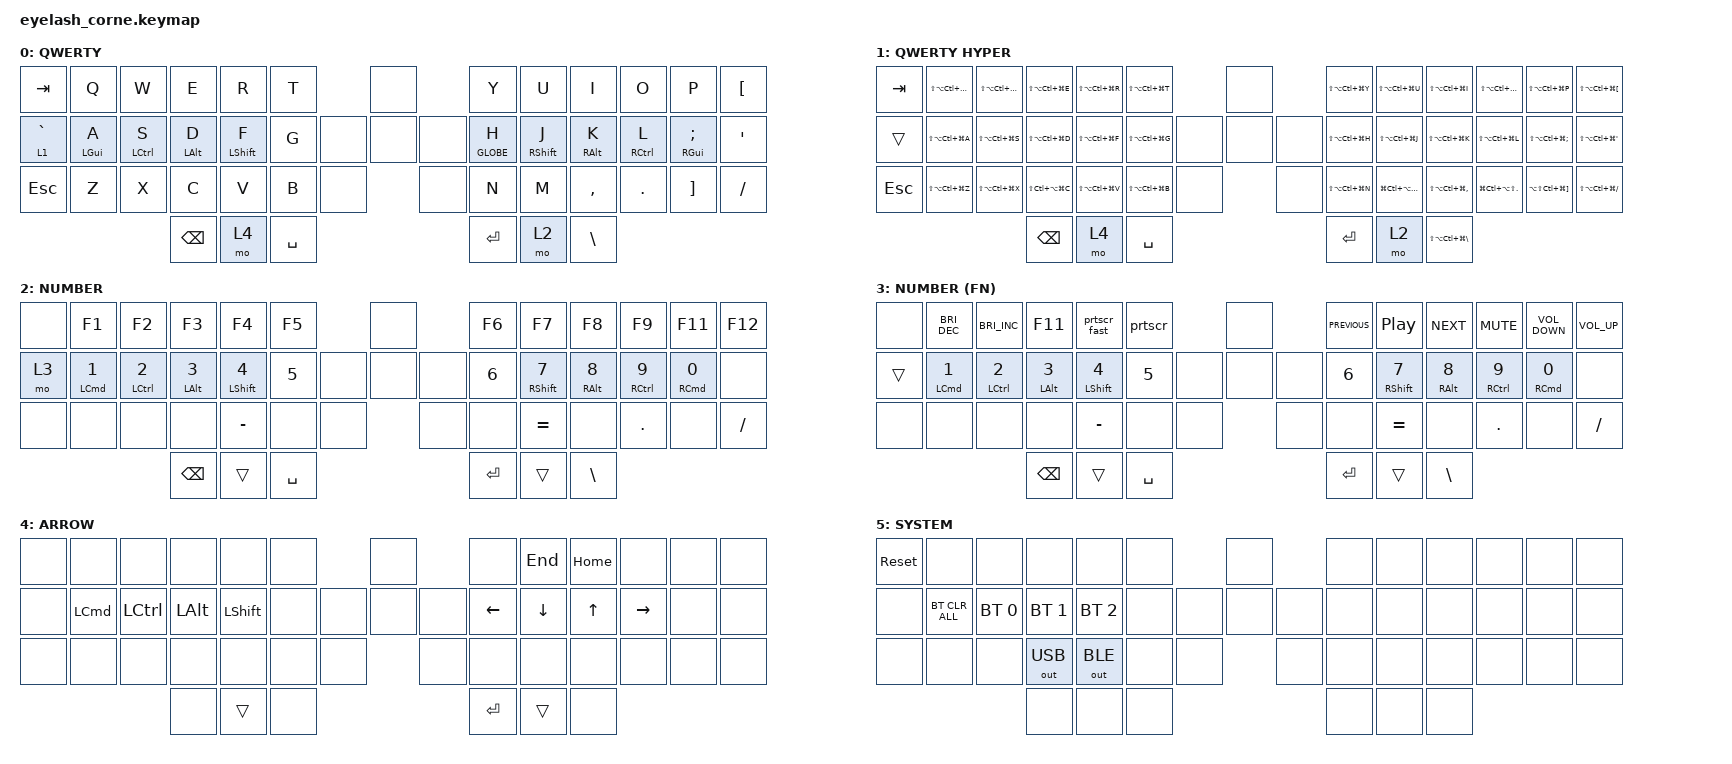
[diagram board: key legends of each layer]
#define ZMK_POINTING_DEFAULT_MOVE_VAL 1200  // 600
#define ZMK_POINTING_DEFAULT_SCRL_VAL 25   // 10

#include <input/processors.dtsi>
#include <zephyr/dt-bindings/input/input-event-codes.h>
#include <behaviors.dtsi>
#include <dt-bindings/zmk/bt.h>
#include <dt-bindings/zmk/keys.h>
#include <dt-bindings/zmk/outputs.h>

&mmv_input_listener { input-processors = <&zip_xy_scaler 2 1>; };

&msc_input_listener { input-processors = <&zip_scroll_scaler 2 1>; };

/ {
    behaviors {
        hml: homewrow_mods_left {
            compatible = "zmk,behavior-hold-tap";
            label = "HOMEROW_MODS_LEFT_HAND";
            bindings = <&kp>, <&kp>;

            #binding-cells = <2>;
            tapping-term-ms = <175>;
            hold-trigger-key-positions = <7 8 9 10 11 12 27 26 36 37 38 39 40 22 23 24 25 41 47>;
            flavor = "balanced";
        };

        hmr: homewrow_mods_right {
            compatible = "zmk,behavior-hold-tap";
            label = "HOMEROW_MODS_RIGHT_HAND";
            bindings = <&kp>, <&kp>;

            #binding-cells = <2>;
            tapping-term-ms = <175>;
            hold-trigger-key-positions = <33 18 5 0 1 2 3 4 13 14 15 16 17 28 29 30 31 32>;
            flavor = "balanced";
        };

        hyper_beh: hyper_beh {
            compatible = "zmk,behavior-hold-tap";
            label = "HYPER_BEH";
            bindings = <&mo>, <&kp>;

            #binding-cells = <2>;
            tapping-term-ms = <175>;
            flavor = "balanced";
            hold-trigger-key-positions = <1 2 3 4 5 7 8 9 10 11 12 14 15 16 17 18 22 23 24 25 26 27 29 30 31 32 33 36 37 38 39 40 41 47 45 44 42 0 28>;
        };
    };

    macros {
        prtscr: prtscr {
            compatible = "zmk,behavior-macro";
            #binding-cells = <0>;
            bindings = <&kp LS(LG(N4))>;
            label = "PRTSCR";
        };

        prtscr_fast: prtscr_fast {
            compatible = "zmk,behavior-macro";
            #binding-cells = <0>;
            bindings = <&kp LS(LG(N3))>;
            label = "PRTSCR_FAST";
        };
    };

    combos {
        compatible = "zmk,combos";

        system_combo {
            bindings = <&mo 5>;
            key-positions = <43 46>;
        };

        zoom_in {
            bindings = <&kp LG(LS(EQUAL))>;
            key-positions = <46 14 17 37>;
        };

        zoom_out {
            bindings = <&kp LG(LS(MINUS))>;
            key-positions = <46 23 26 32>;
        };

        next_space {
            bindings = <&kp LC(RIGHT)>;
            key-positions = <43 15 25>;
        };

        prev_space {
            bindings = <&kp LC(LEFT)>;
            key-positions = <43 15 22>;
        };
    };

    keymap {
        compatible = "zmk,keymap";

        default_layer {
            display-name = "QWERTY";
            bindings = <
&kp TAB             &kp Q        &kp W         &kp E        &kp R         &kp T                      &none         &kp Y         &kp U          &kp I          &kp O         &kp P              &kp LEFT_BRACKET
&hyper_beh 1 GRAVE  &hml LGUI A  &hml LCTRL S  &hml LALT D  &hml LSHFT F  &kp G               &none  &none  &none  &hmr GLOBE H  &hmr RSHIFT J  &hmr RALT K    &hmr RCTRL L  &hmr RGUI SEMI     &kp SQT
&kp ESCAPE          &kp Z        &kp X         &kp C        &kp V         &kp B      &none           &none         &kp N         &kp M          &kp COMMA      &kp DOT       &kp RIGHT_BRACKET  &kp SLASH
                                               &kp BSPC     &mo 4         &kp SPACE                                &kp ENTER     &mo 2          &kp BACKSLASH
            >;
        };

        hyper_layer {
            display-name = "QWERTY HYPER";
            bindings = <
&kp TAB     &kp LS(LA(LC(LG(Q))))  &kp LS(LA(LC(LG(W))))  &kp LS(LA(LC(LG(E))))  &kp LS(LA(LC(LG(R))))  &kp LS(LA(LC(LG(T))))                  &none         &kp LS(LA(LC(LG(Y))))  &kp LS(LA(LC(LG(U))))  &kp LS(LA(LC(LG(I))))          &kp LS(LA(LC(LG(O))))    &kp LS(LA(LC(LG(P))))              &kp LS(LA(LC(LG(LEFT_BRACKET))))
&trans      &kp LS(LA(LC(LG(A))))  &kp LS(LA(LC(LG(S))))  &kp LS(LA(LC(LG(D))))  &kp LS(LA(LC(LG(F))))  &kp LS(LA(LC(LG(G))))           &none  &none  &none  &kp LS(LA(LC(LG(H))))  &kp LS(LA(LC(LG(J))))  &kp LS(LA(LC(LG(K))))          &kp LS(LA(LC(LG(L))))    &kp LS(LA(LC(LG(SEMI))))           &kp LS(LA(LC(LG(SQT))))
&kp ESCAPE  &kp LS(LA(LC(LG(Z))))  &kp LS(LA(LC(LG(X))))  &kp LS(LC(LA(LG(C))))  &kp LS(LA(LC(LG(V))))  &kp LS(LA(LC(LG(B))))  &none           &none         &kp LS(LA(LC(LG(N))))  &kp LG(LC(LA(LS(M))))  &kp LS(LA(LC(LG(COMMA))))      &kp LG(LC(LA(LS(DOT))))  &kp LA(LS(LC(LG(RIGHT_BRACKET))))  &kp LS(LA(LC(LG(SLASH))))
                                                          &kp BSPC               &mo 4                  &kp SPACE                                            &kp ENTER              &mo 2                  &kp LS(LA(LC(LG(BACKSLASH))))
            >;
        };

        number_layer {
            display-name = "NUMBER";
            bindings = <
&none  &kp F1                &kp F2                &kp F3            &kp F4              &kp F5                     &none         &kp F6     &kp F7               &kp F8             &kp F9                 &kp F11                &kp F12
&mo 3  &hml LEFT_COMMAND N1  &hml LEFT_CONTROL N2  &hml LEFT_ALT N3  &hml LEFT_SHIFT N4  &kp N5              &none  &none  &none  &kp N6     &hmr RIGHT_SHIFT N7  &hmr RIGHT_ALT N8  &hmr RIGHT_CONTROL N9  &hmr RIGHT_COMMAND N0  &none
&none  &none                 &none                 &none             &kp MINUS           &none      &none           &none         &none      &kp EQUAL            &none              &kp DOT                &none                  &kp SLASH
                                                   &kp BSPC          &trans              &kp SPACE                                &kp ENTER  &trans               &kp BACKSLASH
            >;
        };

        number_fn_layer {
            display-name = "NUMBER (FN)";
            bindings = <
&none   &kp C_BRIGHTNESS_DEC  &kp C_BRIGHTNESS_INC  &kp F11           &prtscr_fast        &prtscr                    &none         &kp C_PREVIOUS  &kp C_PLAY_PAUSE     &kp C_NEXT         &kp C_MUTE             &kp C_VOLUME_DOWN      &kp C_VOLUME_UP
&trans  &hml LEFT_COMMAND N1  &hml LEFT_CONTROL N2  &hml LEFT_ALT N3  &hml LEFT_SHIFT N4  &kp N5              &none  &none  &none  &kp N6          &hmr RIGHT_SHIFT N7  &hmr RIGHT_ALT N8  &hmr RIGHT_CONTROL N9  &hmr RIGHT_COMMAND N0  &none
&none   &none                 &none                 &none             &kp MINUS           &none      &none           &none         &none           &kp EQUAL            &none              &kp DOT                &none                  &kp SLASH
                                                    &kp BSPC          &trans              &kp SPACE                                &kp ENTER       &trans               &kp BACKSLASH
            >;
        };

        arrow_layer {
            bindings = <
&none  &none             &none             &none         &none           &none                  &none         &none      &kp END   &kp HOME  &none      &none  &none
&none  &kp LEFT_COMMAND  &kp LEFT_CONTROL  &kp LEFT_ALT  &kp LEFT_SHIFT  &none           &none  &none  &none  &kp LEFT   &kp DOWN  &kp UP    &kp RIGHT  &none  &none
&none  &none             &none             &none         &none           &none  &none           &none         &none      &none     &none     &none      &none  &none
                                           &none         &trans          &none                                &kp ENTER  &trans    &none
            >;

            label = "ARROW";
        };

        sys_layer {
            display-name = "SYSTEM";
            bindings = <
&sys_reset  &none           &none         &none         &none         &none                  &none         &none  &none  &none  &none  &none  &none
&none       &bt BT_CLR_ALL  &bt BT_SEL 0  &bt BT_SEL 1  &bt BT_SEL 2  &none           &none  &none  &none  &none  &none  &none  &none  &none  &none
&none       &none           &none         &out OUT_USB  &out OUT_BLE  &none  &none           &none         &none  &none  &none  &none  &none  &none
                                          &none         &none         &none                                &none  &none  &none
            >;
        };
    };
};
